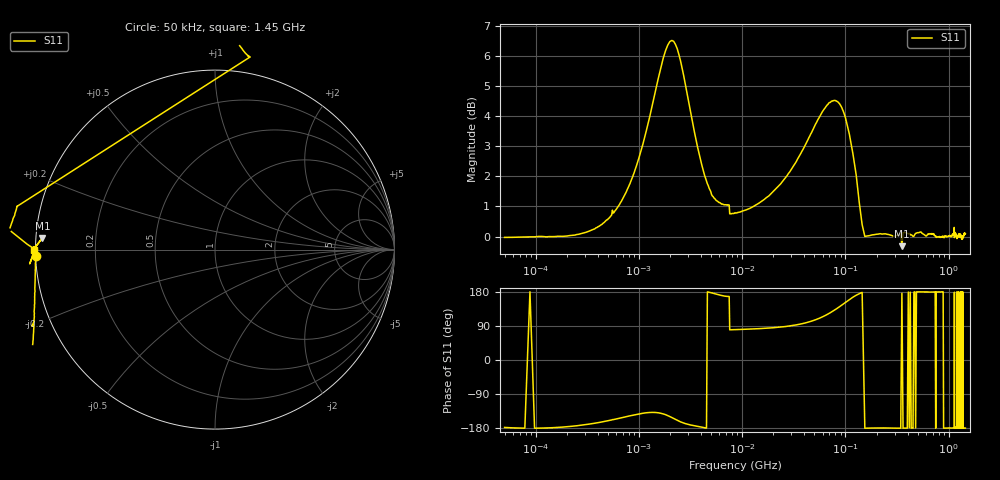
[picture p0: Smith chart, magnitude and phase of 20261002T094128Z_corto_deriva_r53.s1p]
! piloto_deriva / corto_deriva / r53
# HZ S RI R 50
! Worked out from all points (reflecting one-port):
!   501 points, 50 kHz to 1.45 GHz, reference 50 ohm
!   lowest |S11| = -0.3 dB at 352 MHz (marker M1), VSWR 54.53, Z = 0.918 + j1.68 ohm
!   phase of S11 starts at -178 deg and turns -2 deg over the sweep
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50000  -0.9962 -0.0357
183000  -0.9996 -0.0521
373000  -1.003 -0.2343
658000  -1.015 -0.5121
1180000  -1.136 -0.9792
1630000  -1.475 -1.21
1990000  -1.811 -1.078
2170000  -1.903 -0.9097
2440000  -1.899 -0.6402
3070000  -1.629 -0.2698
4330000  -1.262 -0.0315
7300000  -1.103 0.243
7750000  0.1943 1.074
8560000  0.1852 1.079
1.9e7  0.1089 1.173
3.16e7  -0.0344 1.312
4.69e7  -0.3228 1.452
6.76e7  -0.8592 1.417
7.93e7  -1.14 1.237
9.28e7  -1.347 0.9232
9.82e7  -1.384 0.7846
1e8  -1.392 0.7365
1.18e8  -1.331 0.3383
1.36e8  -1.135 0.1005
1.63e8  -1.002 -0.00457
3.52e8  -0.9618 0.0649
4.06e8  -1.01 0.0136
1.45e9  -1.011 -0.0045
